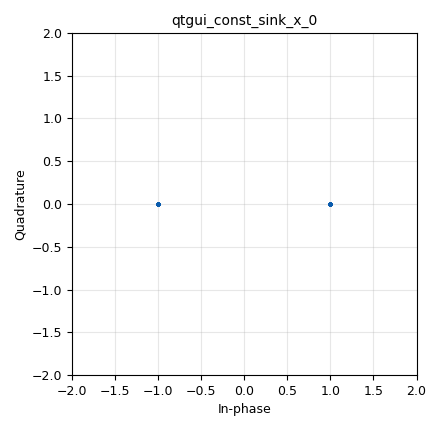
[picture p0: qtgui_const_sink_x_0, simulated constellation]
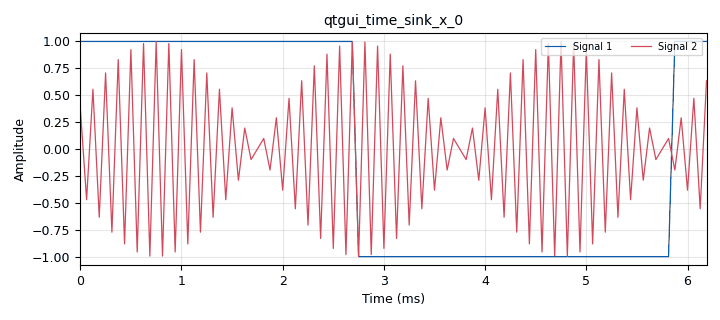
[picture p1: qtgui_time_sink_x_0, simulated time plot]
options:
  parameters:
    generate_options: qt_gui
    id: SineWaveFlowgraph
    output_language: python
    title: Your First Flowgraph
  states: {}

blocks:
- name: Fc
  id: variable
  parameters:
    value: '10000'
  states: {}
- name: Fs
  id: variable
  parameters:
    value: '16000'
  states: {}
- name: Rs
  id: variable
  parameters:
    value: '16000'
  states: {}
- name: analog_sig_source_x_0
  id: analog_sig_source_x
  parameters:
    amp: '1'
    freq: '1000'
    offset: '0'
    phase: '0'
    samp_rate: Rs * 4
    type: complex
    waveform: analog.GR_COS_WAVE
  states: {}
- name: blocks_complex_to_float_0
  id: blocks_complex_to_float
  parameters: {}
  states: {}
- name: blocks_complex_to_float_0_0
  id: blocks_complex_to_float
  parameters: {}
  states: {}
- name: blocks_multiply_xx_0
  id: blocks_multiply_xx
  parameters:
    type: complex
  states: {}
- name: blocks_repeat_0
  id: blocks_repeat
  parameters:
    interp: '50'
    type: complex
  states: {}
- name: blocks_throttle2_0
  id: blocks_throttle2
  parameters:
    samples_per_second: Rs
    type: complex
  states: {}
- name: epy_block_1
  id: epy_block
  parameters:
    _source_code: |-
      import numpy as np
      from gnuradio import gr

      class blk(gr.sync_block):
          def __init__(self, echantillons_sec=128):
              gr.sync_block.__init__(
                  self,
                  name='Mapping Phase BPSK',
                  in_sig=None,
                  out_sig=[np.complex64]
              )
              self.symbols = [-1, +1]

          def work(self, input_items, output_items):
              out = output_items[0]
              n = len(out)
              index = 0
              for i in range(n):
                  out[i] = self.symbols[index]
                  index = (index + 1) % len(self.symbols)
              return len(out)
    echantillons_sec: Rs
  states: {}
- name: qtgui_const_sink_x_0
  id: qtgui_const_sink_x
  parameters:
    size: '8192'
    type: complex
  states: {}
- name: qtgui_time_sink_x_0
  id: qtgui_time_sink_x
  parameters:
    nconnections: '2'
    size: '100'
    srate: Rs
    type: float
  states: {}

connections:
- [analog_sig_source_x_0, '0', blocks_multiply_xx_0, '1']
- [blocks_complex_to_float_0, '0', qtgui_time_sink_x_0, '0']
- [blocks_complex_to_float_0_0, '0', qtgui_time_sink_x_0, '1']
- [blocks_multiply_xx_0, '0', blocks_complex_to_float_0_0, '0']
- [blocks_repeat_0, '0', blocks_complex_to_float_0, '0']
- [blocks_throttle2_0, '0', blocks_multiply_xx_0, '0']
- [blocks_throttle2_0, '0', blocks_repeat_0, '0']
- [blocks_throttle2_0, '0', qtgui_const_sink_x_0, '0']
- [epy_block_1, '0', blocks_throttle2_0, '0']

metadata:
  file_format: 1
  grc_version: 3.10.12.0
